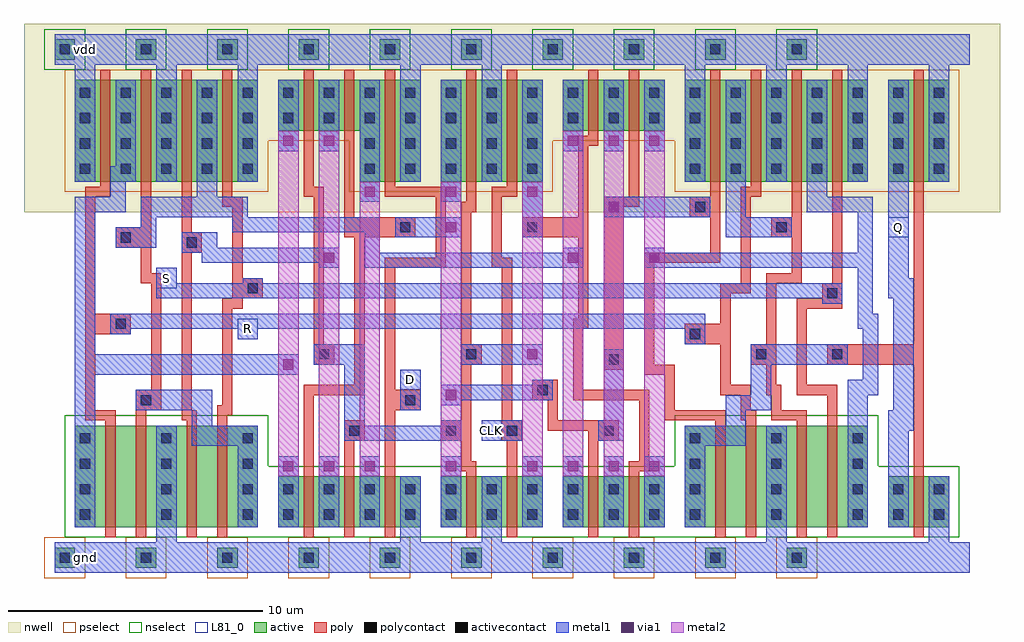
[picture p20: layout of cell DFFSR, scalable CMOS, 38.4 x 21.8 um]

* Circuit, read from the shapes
.subckt DFFSR CLK D Q R S gnd vdd
M1 n1 R n2 gnd nfet w=4u l=0.4u
M2 gnd n3 n1 gnd nfet w=4u l=0.4u
M3 n4 n5 gnd gnd nfet w=4u l=0.4u
M4 n3 S n4 gnd nfet w=4u l=0.4u
M5 n5 n6 n2 gnd nfet w=2u l=0.4u
M6 n7 n8 n5 gnd nfet w=2u l=0.4u
M7 gnd D n7 gnd nfet w=2u l=0.4u
M8 gnd n8 n6 gnd nfet w=2u l=0.4u
M9 n8 CLK gnd gnd nfet w=2u l=0.4u
M10 n9 n6 n3 gnd nfet w=2u l=0.4u
M11 n10 n8 n9 gnd nfet w=2u l=0.4u
M12 n11 n9 n12 gnd nfet w=4u l=0.4u
M13 gnd R n11 gnd nfet w=4u l=0.4u
M14 n13 n12 gnd gnd nfet w=4u l=0.4u
M15 n10 S n13 gnd nfet w=4u l=0.4u
M16 gnd n12 Q gnd nfet w=2u l=0.4u
M17 n2 R vdd vdd pfet w=4u l=0.4u
M18 vdd n3 n2 vdd pfet w=4u l=0.4u
M19 n3 n5 vdd vdd pfet w=4u l=0.4u
M20 vdd S n3 vdd pfet w=4u l=0.4u
M21 n5 n8 n2 vdd pfet w=2u l=0.4u
M22 n7 n6 n5 vdd pfet w=2u l=0.4u
M23 vdd D n7 vdd pfet w=4u l=0.4u
M24 vdd n8 n6 vdd pfet w=4u l=0.4u
M25 n8 CLK vdd vdd pfet w=4u l=0.4u
M26 n9 n8 n3 vdd pfet w=2u l=0.4u
M27 n10 n6 n9 vdd pfet w=2u l=0.4u
M28 n12 n9 vdd vdd pfet w=4u l=0.4u
M29 vdd R n12 vdd pfet w=4u l=0.4u
M30 n10 n12 vdd vdd pfet w=4u l=0.4u
M31 vdd S n10 vdd pfet w=4u l=0.4u
M32 vdd n12 Q vdd pfet w=4u l=0.4u
.ends

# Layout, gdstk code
import gdstk
lib = gdstk.Library(unit=1e-6, precision=1e-09)
def R(c, l, rs):  # rectangles x0, y0, x1, y1
    for r in rs: c.add(gdstk.rectangle(r[:2], r[2:], *l))
def A(c, l, x, y, w, h, nx, ny, dx, dy):  # array of equal rectangles
    R(c, l, [(x+i*dx, y+j*dy, x+i*dx+w, y+j*dy+h) for i in range(nx) for j in range(ny)])
nwell = (42, 0)
active = (43, 0)
pselect = (44, 0)
nselect = (45, 0)
poly = (46, 0)
polycontact = (47, 0)
activecontact = (48, 0)
metal1 = (49, 0)
via1 = (50, 0)
metal2 = (51, 0)
L81_0 = (81, 0)

dffsr = lib.new_cell('DFFSR')
R(dffsr, nwell, [(-1.6,13.6,36.8,21)])
A(dffsr, active, -0.4, -0.4, 0.8, 0.8, 10, 2, 3.2, 20)
R(dffsr, active, [(0.4,1.2,7.6,5.2), (8.4,1.2,14,3.2), (14.8,1.2,18.8,3.2), (19.6,1.2,23.6,3.2), (24.4,1.2,31.6,5.2), (32.4,1.2,34.8,3.2), (0.4,14.8,7.6,18.8), (11.6,14.8,14,16.8), (14.8,14.8,18.8,18.8), (24.4,14.8,31.6,18.8), (32.4,14.8,34.8,18.8), (8.4,16.8,14,18.8), (19.6,16.8,23.6,18.8)])
A(dffsr, pselect, -0.8, -0.8, 1.6, 1.6, 10, 1, 3.2, 0)
R(dffsr, pselect, [(0,14.4,8,16.4), (11.2,14.4,19.2,16.4), (24,14.4,35.2,16.4), (0,16.4,35.2,19.2)])
A(dffsr, nselect, -0.8, 19.2, 1.6, 1.6, 10, 1, 3.2, 0)
R(dffsr, nselect, [(0,0.8,35.2,3.6), (0,3.6,8,5.6), (24,3.6,32,5.6)])
R(dffsr, poly, [(1.6,0.8,2,5.4), (2.8,0.8,3.2,5.8), (4.8,0.8,5.2,5.4), (6,0.8,6.4,5.6), (9.4,0.8,9.8,6.4), (11,0.8,11.4,4.6), (12.6,0.8,13,5.8), (15.8,0.8,16.2,3.4), (17.4,0.8,17.8,4.6), (20.6,0.8,21,4.6), (22.2,0.8,22.6,3.4), (25.6,0.8,26,5.4), (26.8,0.8,27.2,5.4), (28.8,0.8,29.2,5.4), (30,0.8,30.4,6.4), (33.4,0.8,33.8,7.6), (15.6,3.4,16.2,3.8), (22.2,3.4,23,3.8), (15.6,3.8,16,4.6), (22.6,3.8,23,6.2), (11,4.6,11.8,5.4), (14.8,4.6,16,5.4), (17.2,4.6,18,5.4), (20.6,4.6,21.8,5), (19,5,21.8,5.4), (0.8,5.4,2,5.8), (4.6,5.4,5.2,5.8), (15.6,5.4,16,7.6), (17.2,5.4,17.6,11.4), (19,5.4,19.4,6.2), (23.6,5.4,26,5.8), (26.6,5.4,27.2,5.8), (27.8,5.4,29.2,5.8), (6,5.6,6.6,6), (0.8,5.8,1.2,8.8), (2.8,5.8,3.8,6.6), (4.6,5.8,5,12), (12.6,5.8,14,6.6), (23.6,5.8,24,7.2), (26.6,5.8,27,6.4), (27.8,5.8,28.2,6.4), (6.2,6,6.6,9.8), (18.4,6.2,19.4,7), (20,6.2,23,6.6), (9.4,6.4,11.8,6.8), (25.8,6.4,27,6.8), (27.6,6.4,28.2,6.8), (28.8,6.4,30.4,6.8), (3.4,6.6,3.8,10.8), (12.6,6.6,13,11.4), (20,6.6,20.4,9), (11.4,6.8,11.8,12.6), (25.8,6.8,26.2,8.4), (27.6,6.8,28,7.6), (28.8,6.8,29.2,9.8), (22.8,7.2,24,7.6), (21.2,7.4,22,13.8), (9.8,7.6,10.6,8.4), (15.6,7.6,16.4,8.4), (22.8,7.6,23.2,11.6), (27,7.6,28,8.4), (30,7.6,33.8,8.4), (9.8,8.4,10.2,14.2), (15.6,8.4,16,13.6), (24.4,8.4,26.2,9.2), (27.6,8.4,28,10.8), (33.4,8.4,33.8,19.2), (0.8,8.8,2.6,9.6), (20,9,20.6,9.4), (25.8,9.2,26.2,10.4), (20.2,9.4,20.6,12.6), (0.8,9.6,1.2,14.2), (6.2,9.8,7,10.2), (28.8,9.8,30.6,10.2), (6.6,10.2,7.8,11), (29.8,10.2,30.6,10.8), (25.8,10.4,27,10.8), (3,10.8,3.8,11.2), (26.6,10.8,27,14.2), (27.6,10.8,29,11.2), (30.2,10.8,30.6,19.2), (6.6,11,7,13.8), (3,11.2,3.4,12.2), (28.6,11.2,29,12.6), (12.6,11.4,15,11.8), (16.8,11.4,17.6,11.8), (22.8,11.6,25.8,12), (14.6,11.8,15,14.2), (16.8,11.8,17.2,14.2), (4.6,12,5.4,12.8), (25.4,12,25.8,13.4), (2,12.2,3.4,13), (11,12.6,13.8,13.4), (18,12.6,20.6,13.4), (27.8,12.6,29,13.4), (4.6,12.8,5,19.2), (3,13,3.4,19.2), (11,13.4,11.4,19.2), (20.2,13.4,20.6,16.2), (24.6,13.4,25.8,14.2), (28.6,13.4,29,19.2), (15.6,13.6,16.2,14), (6.2,13.8,7,14.2), (21.2,13.8,22.6,14.2), (15.8,14,16.2,19.2), (0.8,14.2,1.8,14.6), (6.2,14.2,6.6,19.2), (9.4,14.2,10.2,14.6), (12.6,14.2,15,14.6), (16.8,14.2,17.8,14.6), (22.2,14.2,22.6,19.2), (25.4,14.2,25.8,19.2), (26.6,14.2,27.4,14.6), (1.4,14.6,1.8,19.2), (9.4,14.6,9.8,19.2), (12.6,14.6,13,19.2), (17.4,14.6,17.8,19.2), (27,14.6,27.4,19.2), (20.2,16.2,21,16.6), (20.6,16.6,21,19.2)])
R(dffsr, polycontact, [(11.2,4.8,11.6,5.2), (15,4.8,15.4,5.2), (17.4,4.8,17.8,5.2), (21.2,4.8,21.6,5.2), (3,6,3.4,6.4), (13.4,6,13.8,6.4), (18.6,6.4,19,6.8), (21.4,7.6,21.8,8), (10,7.8,10.4,8.2), (15.8,7.8,16.2,8.2), (27.2,7.8,27.6,8.2), (30.2,7.8,30.6,8.2), (24.6,8.6,25,9), (2,9,2.4,9.4), (30,10.2,30.4,10.6), (7.2,10.4,7.6,10.8), (4.8,12.2,5.2,12.6), (2.2,12.4,2.6,12.8), (13.2,12.8,13.6,13.2), (18.2,12.8,18.6,13.2), (28,12.8,28.4,13.2), (24.8,13.6,25.2,14)])
A(dffsr, activecontact, -0.2, -0.2, 0.4, 0.4, 10, 2, 3.2, 20)
A(dffsr, activecontact, 0.6, 1.5, 0.4, 0.4, 3, 4, 3.2, 1)
A(dffsr, activecontact, 8.6, 1.5, 0.4, 0.4, 11, 2, 1.6, 1)
A(dffsr, activecontact, 31, 1.5, 0.4, 0.4, 3, 2, 1.6, 1)
A(dffsr, activecontact, 24.6, 3.5, 0.4, 0.4, 3, 2, 3.2, 1)
A(dffsr, activecontact, 0.6, 15.1, 0.4, 0.4, 5, 2, 1.6, 1)
A(dffsr, activecontact, 11.8, 15.1, 0.4, 0.4, 5, 2, 1.6, 1)
A(dffsr, activecontact, 24.6, 15.1, 0.4, 0.4, 7, 2, 1.6, 1)
A(dffsr, activecontact, 0.6, 17.1, 0.4, 0.4, 22, 2, 1.6, 1)
R(dffsr, activecontact, [(27.8,1.5,28.2,1.9), (27.8,2.5,28.2,2.9)])
A(dffsr, metal1, 8.4, 1.2, 0.8, 2.8, 3, 1, 1.6, 0)
A(dffsr, metal1, 18, 1.2, 0.8, 2.8, 4, 1, 1.6, 0)
A(dffsr, metal1, 0.4, 14.8, 0.8, 4.6, 3, 1, 3.2, 0)
A(dffsr, metal1, 24.4, 14.8, 0.8, 4.6, 4, 1, 3.2, 0)
A(dffsr, metal1, 19.6, 16, 0.8, 2.8, 3, 1, 1.6, 0)
R(dffsr, metal1, [(-0.4,-0.6,35.6,0.6), (3.6,0.6,4.4,5.2), (13.2,0.6,14,3.2), (16.4,0.6,17.2,3.2), (27.6,0.6,28.4,5.2), (34,0.6,34.8,3.2), (0.4,1.2,1.2,7.2), (6.8,1.2,7.6,4.4), (14.8,1.2,15.6,4), (24.4,1.2,25.2,4.4), (30.8,1.2,31.6,6.4), (32.4,1.2,33.2,5), (5,4.4,7.6,5.2), (24.4,4.4,26.8,5.2), (11,4.6,15.6,5.2), (16.4,4.6,18,5.4), (21,4.6,22,5.4), (32.4,5,33.4,5.8), (5,5.2,5.8,5.8), (11,5.2,11.8,7.6), (14.8,5.2,15.6,5.4), (26,5.2,26.8,5.8), (21.2,5.4,22,8.2), (2.8,5.8,5.8,6.6), (13.2,5.8,14,7.4), (26,5.8,27.8,6.4), (32.6,5.8,33.4,10.2), (14.8,6,15.6,6.2), (14.8,6.2,19.2,6.8), (27,6.4,27.8,7.6), (30.8,6.4,32,7), (18.4,6.8,19.2,7), (31.4,7,32,9), (0.4,7.2,9.2,8), (9.8,7.6,11.8,8.4), (15.6,7.6,18.8,8.4), (27,7.6,30.8,8.4), (0.4,8,1.2,13.6), (24.4,8.4,25.2,9), (6.8,8.6,7.6,9), (1.8,8.8,2.6,9), (1.8,9,25.2,9.6), (31.2,9,32,9.6), (31.2,9.6,31.8,11.4), (29.8,10,30.6,10.2), (3.6,10.2,30.6,10.8), (32.4,10.2,33.4,11), (3.6,10.8,4.4,11.4), (7,10.8,7.8,11), (32.4,11,33.2,18.8), (10,11.4,10.8,11.6), (11.8,11.4,20.4,12), (22.8,11.4,31.8,12), (5.4,11.6,10.8,12), (4.6,12,10.8,12.2), (11.8,12,12.4,12.8), (19.6,12,20.4,12.2), (22.8,12,23.6,12.2), (31.2,12,31.8,13.6), (2,12.2,3.6,13), (4.6,12.2,6,12.8), (13,12.6,15.6,13.4), (18,12.6,18.8,18.8), (26,12.6,28.6,13.4), (6.6,12.8,12.4,13.4), (3,13,3.6,13.4), (3,13.4,7.2,14.2), (21.2,13.4,25.4,14.2), (26,13.4,26.8,18.8), (0.4,13.6,2.4,14.2), (29.2,13.6,31.8,14.2), (11.6,14,12.4,18.8), (14.8,14,15.6,18.8), (1.8,14.2,2.4,14.8), (5.2,14.2,6,18.8), (29.2,14.2,30,18.8), (1.8,14.8,2.8,15.4), (13.2,14.8,14,19.4), (16.4,14.8,17.2,19.4), (2,15.4,2.8,18.8), (8.4,16,9.2,18.8), (10,16,10.8,18.8), (-0.4,19.4,35.6,20.6)])
A(dffsr, via1, 8.6, 3.4, 0.4, 0.4, 3, 1, 1.6, 0)
A(dffsr, via1, 18.2, 3.4, 0.4, 0.4, 4, 1, 1.6, 0)
A(dffsr, via1, 11.8, 14.2, 0.4, 0.4, 3, 1, 3.2, 0)
A(dffsr, via1, 19.8, 16.2, 0.4, 0.4, 3, 1, 1.6, 0)
R(dffsr, via1, [(15,3.4,15.4,3.8), (15,6.2,15.4,6.6), (8.6,7.4,9,7.8), (18.2,7.8,18.6,8.2), (10.2,11.6,10.6,12), (19.8,11.6,20.2,12), (23,11.6,23.4,12), (15,12.8,15.4,13.2), (21.4,13.6,21.8,14), (8.6,16.2,9,16.6), (10.2,16.2,10.6,16.6)])
A(dffsr, metal2, 11.6, 3.2, 0.8, 11.6, 3, 1, 3.2, 0)
A(dffsr, metal2, 19.6, 3.2, 0.8, 13.6, 3, 1, 1.6, 0)
R(dffsr, metal2, [(8.4,3.2,9.2,16.8), (10,3.2,10.8,16.8)])
R(dffsr, L81_0, [(16.4,4.6,17.2,5.4), (13.2,6.6,14,7.4), (6.8,8.6,7.6,9.4), (3.6,10.6,4.4,11.4), (32.4,12.6,33.2,13.4)])
dffsr.add(gdstk.Label('gnd', (0.8,0), layer=109, texttype=0))
dffsr.add(gdstk.Label('vdd', (0.8,20), layer=109, texttype=0))
dffsr.add(gdstk.Label('D', (13.6,7), layer=109, texttype=0))
dffsr.add(gdstk.Label('S', (4,11), layer=109, texttype=0))
dffsr.add(gdstk.Label('R', (7.2,9), layer=109, texttype=0))
dffsr.add(gdstk.Label('Q', (32.8,13), layer=109, texttype=0))
dffsr.add(gdstk.Label('CLK', (16.8,5), layer=109, texttype=0))

lib.write_gds('DFFSR.gds')
